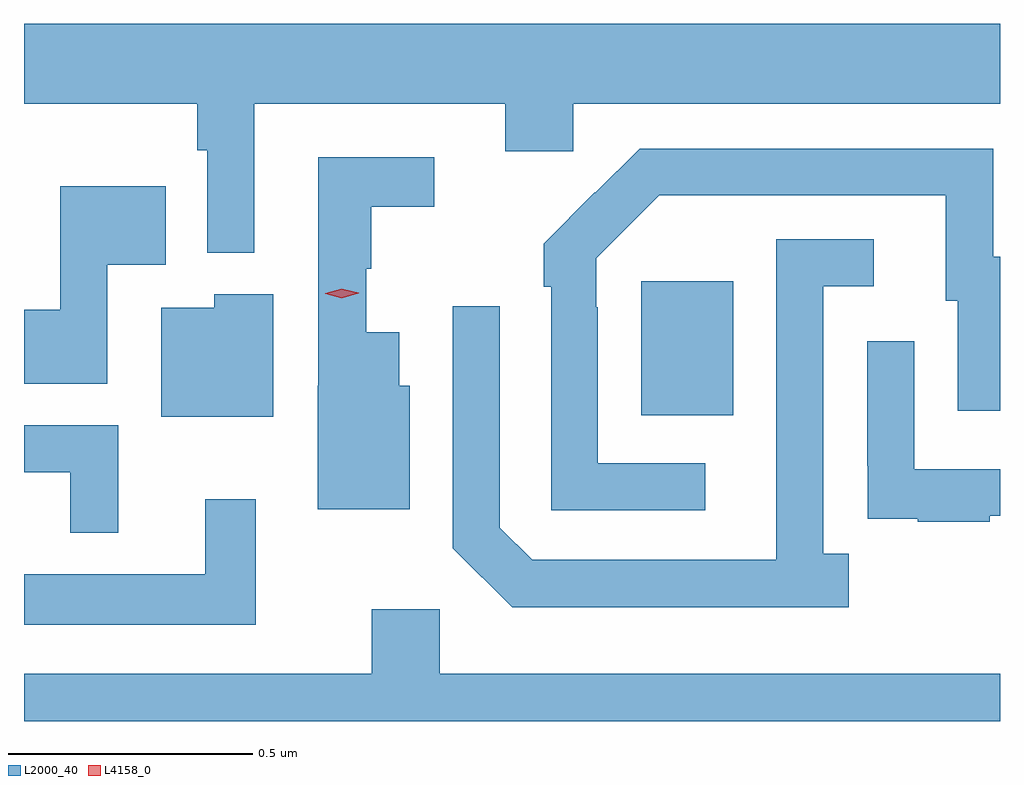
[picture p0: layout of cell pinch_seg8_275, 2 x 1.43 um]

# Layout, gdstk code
import gdstk
lib = gdstk.Library(unit=1e-6, precision=1e-09)
def R(c, l, rs):  # rectangles x0, y0, x1, y1
    for r in rs: c.add(gdstk.rectangle(r[:2], r[2:], *l))
def P(c, l, *ps):  # polygons
    for p in ps: c.add(gdstk.Polygon(p, *l))
L2000_40 = (2000, 40)
L4158_0 = (4158, 0)

pinch_seg8_275 = lib.new_cell('pinch_seg8_275')
R(pinch_seg8_275, L2000_40, [(527.657,1157.153,527.845,1157.428)])
P(pinch_seg8_275, L2000_40, [(526.864,1157.792),(527.378,1157.792),(527.378,1157.694),(527.517,1157.694),(527.517,1157.792),(528.392,1157.792),(528.392,1157.956),(526.392,1157.956),(526.392,1157.792),(526.747,1157.792),(526.747,1157.696),(526.767,1157.696),(526.767,1157.486),(526.864,1157.486)],
  [(527.788,1157.055),(527.568,1157.055),(527.568,1157.375),(527.565,1157.375),(527.565,1157.475),(527.694,1157.604),(528.281,1157.604),(528.281,1157.388),(528.305,1157.388),(528.305,1157.163),(528.392,1157.163),(528.392,1157.478),(528.378,1157.478),(528.378,1157.7),(527.654,1157.7),(527.563,1157.609),(527.562,1157.61),(527.457,1157.505),(527.457,1157.417),(527.472,1157.417),(527.472,1156.959),(527.788,1156.959)],
  [(527.182,1157.214),(527.161,1157.214),(527.161,1157.323),(527.093,1157.323),(527.093,1157.454),(527.104,1157.454),(527.104,1157.581),(527.233,1157.581),(527.233,1157.682),(526.995,1157.682),(526.995,1157.214),(526.994,1157.214),(526.994,1156.961),(527.182,1156.961)],
  [(526.563,1157.462),(526.682,1157.462),(526.682,1157.623),(526.466,1157.623),(526.466,1157.37),(526.393,1157.37),(526.393,1157.218),(526.563,1157.218)],
  [(528.082,1156.87),(528.03,1156.87),(528.03,1157.418),(528.133,1157.418),(528.133,1157.514),(527.934,1157.514),(527.934,1157.057),(527.933,1157.057),(527.933,1156.857),(527.433,1156.857),(527.367,1156.923),(527.367,1157.377),(527.271,1157.377),(527.271,1156.881),(527.392,1156.76),(528.082,1156.76)],
  [(526.903,1157.401),(526.782,1157.401),(526.782,1157.374),(526.673,1157.374),(526.673,1157.15),(526.903,1157.15)],
  [(528.371,1156.947),(528.392,1156.947),(528.392,1157.043),(528.216,1157.043),(528.216,1157.305),(528.12,1157.305),(528.12,1157.05),(528.121,1157.05),(528.121,1156.941),(528.223,1156.941),(528.223,1156.935),(528.371,1156.935)],
  [(526.585,1157.133),(526.392,1157.133),(526.392,1157.037),(526.487,1157.037),(526.487,1156.913),(526.585,1156.913)],
  [(526.867,1156.981),(526.763,1156.981),(526.763,1156.828),(526.392,1156.828),(526.392,1156.724),(526.867,1156.724)],
  [(528.392,1156.624),(527.244,1156.624),(527.244,1156.756),(527.105,1156.756),(527.105,1156.624),(526.392,1156.624),(526.392,1156.526),(528.392,1156.526)])
P(pinch_seg8_275, L4158_0, [(527.043,1157.393),(527.009,1157.402),(527.009,1157.402),(527.009,1157.403),(527.043,1157.413),(527.078,1157.404),(527.078,1157.403),(527.078,1157.403)])

lib.write_gds('pinch_seg8_275.gds')
